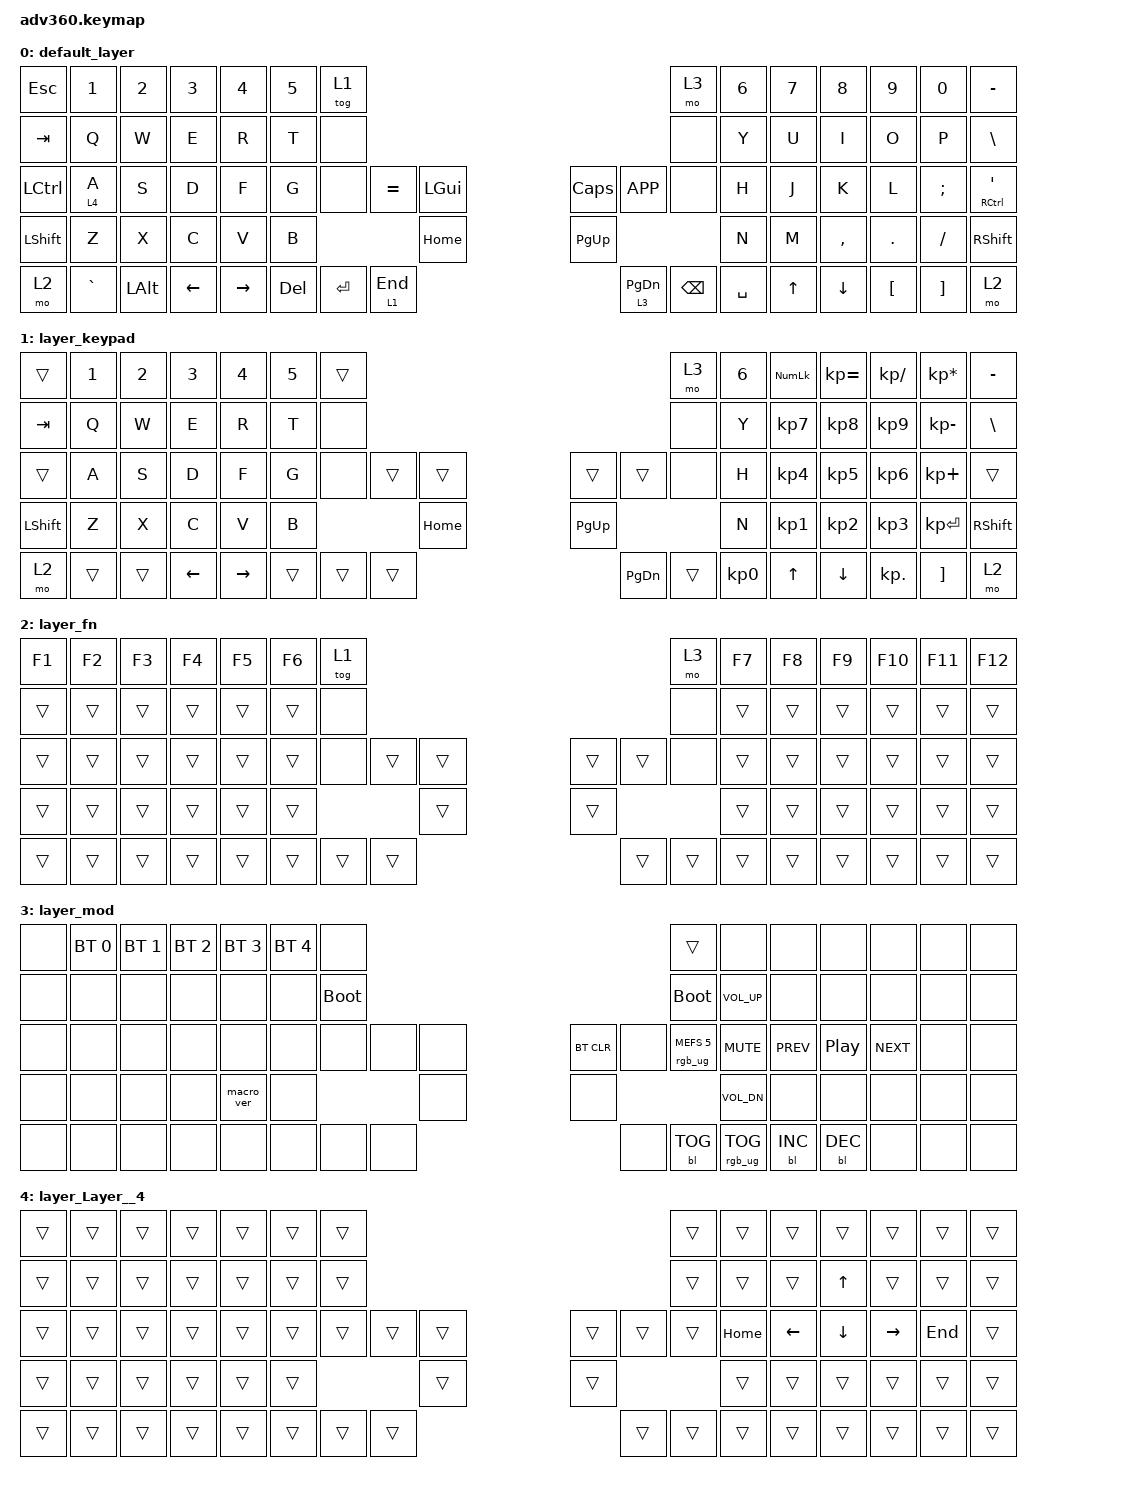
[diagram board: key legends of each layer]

/*
 * Copyright (c) 2020 The ZMK Contributors
 *
 * SPDX-License-Identifier: MIT
 */


/* THIS FILE WAS GENERATED!
 *
 * This file was generated automatically. You may or may not want to
 * edit it directly.
 */

#include <behaviors.dtsi>
#include <dt-bindings/zmk/keys.h>
#include <dt-bindings/zmk/bt.h>
#include <dt-bindings/zmk/rgb.h>
#include <dt-bindings/zmk/backlight.h>

/ {
  behaviors {
    #include "macros.dtsi"
    #include "version.dtsi"

    hm: homerow_mods {
        compatible = "zmk,behavior-hold-tap";
        label = "HOMEROW_MODS";
        #binding-cells = <2>;
        tapping-term-ms = <200>;
        quick_tap_ms = <175>;
        flavor = "tap-preferred";
        bindings = <&kp>, <&kp>;
    };
  };

    keymap {
        compatible = "zmk,keymap";


        default_layer {
            bindings = <
          &kp ESC     &kp N1    &kp N2    &kp N3     &kp N4  &kp N5                &tog 1                                                                        &mo 3  &kp N6  &kp N7     &kp N8    &kp N9    &kp N0       &kp MINUS
          &kp TAB      &kp Q     &kp W     &kp E      &kp R   &kp T                 &none                                                                        &none   &kp Y   &kp U      &kp I     &kp O     &kp P        &kp BSLH
 &kp LEFT_CONTROL    &lt 4 A     &kp S     &kp D      &kp F   &kp G                 &none  &kp EQUAL   &kp LGUI                     &kp CAPS      &kp K_APP      &none   &kp H   &kp J      &kp K     &kp L  &kp SEMI  &mt RCTRL APOS
       &kp LSHIFT      &kp Z     &kp X     &kp C      &kp V   &kp B                                    &kp HOME                    &kp PG_UP                             &kp N   &kp M  &kp COMMA   &kp DOT  &kp FSLH       &kp RSHFT
            &mo 2  &kp GRAVE  &kp LALT  &kp LEFT  &kp RIGHT                    &kp DELETE  &kp ENTER  &lt 1 END                  &lt 3 PG_DN  &kp BACKSPACE  &kp SPACE          &kp UP   &kp DOWN  &kp LBKT  &kp RBKT           &mo 2
            >;
        };

        layer_keypad {
            bindings = <
    &trans  &kp N1  &kp N2    &kp N3     &kp N4  &kp N5            &trans                                                           &mo 3  &kp N6  &kp KP_NUM  &kp KP_EQUAL  &kp KP_DIVIDE  &kp KP_MULTIPLY  &kp MINUS
   &kp TAB   &kp Q   &kp W     &kp E      &kp R   &kp T             &none                                                           &none   &kp Y   &kp KP_N7     &kp KP_N8      &kp KP_N9     &kp KP_MINUS   &kp BSLH
    &trans   &kp A   &kp S     &kp D      &kp F   &kp G             &none  &trans    &trans                     &trans  &trans      &none   &kp H   &kp KP_N4     &kp KP_N5      &kp KP_N6      &kp KP_PLUS     &trans
 &kp LSHFT   &kp Z   &kp X     &kp C      &kp V   &kp B                            &kp HOME                  &kp PG_UP                      &kp N   &kp KP_N1     &kp KP_N2      &kp KP_N3     &kp KP_ENTER  &kp RSHFT
     &mo 2  &trans  &trans  &kp LEFT  &kp RIGHT                    &trans  &trans    &trans                  &kp PG_DN  &trans  &kp KP_N0              &kp UP      &kp DOWN     &kp KP_DOT         &kp RBKT      &mo 2
            >;
        };

        layer_fn {
            bindings = <
 &kp F1  &kp F2  &kp F3  &kp F4  &kp F5  &kp F6            &tog 1                                                   &mo 3  &kp F7  &kp F8  &kp F9  &kp F10  &kp F11  &kp F12
 &trans  &trans  &trans  &trans  &trans  &trans             &none                                                   &none  &trans  &trans  &trans   &trans   &trans   &trans
 &trans  &trans  &trans  &trans  &trans  &trans             &none  &trans  &trans                  &trans  &trans   &none  &trans  &trans  &trans   &trans   &trans   &trans
 &trans  &trans  &trans  &trans  &trans  &trans                            &trans                  &trans                  &trans  &trans  &trans   &trans   &trans   &trans
 &trans  &trans  &trans  &trans  &trans                    &trans  &trans  &trans                  &trans  &trans  &trans          &trans  &trans   &trans   &trans   &trans
            >;
        };

        layer_mod {
            bindings = <
  &none  &bt BT_SEL 0  &bt BT_SEL 1  &bt BT_SEL 2  &bt BT_SEL 3  &bt BT_SEL 4                  &none                                                                          &trans         &none       &none             &none       &none   &none   &none
  &none         &none         &none         &none         &none         &none            &bootloader                                                                     &bootloader  &kp C_VOL_UP       &none             &none       &none   &none   &none
  &none         &none         &none         &none         &none         &none                  &none   &none   &none                  &bt BT_CLR       &none  &rgb_ug RGB_MEFS_CMD 5    &kp C_MUTE  &kp C_PREV  &kp C_PLAY_PAUSE  &kp C_NEXT   &none   &none
  &none         &none         &none         &none    &macro_ver         &none                                  &none                       &none                                      &kp C_VOL_DN       &none             &none       &none   &none   &none
  &none         &none         &none         &none         &none                                &none   &none   &none                       &none  &bl BL_TOG         &rgb_ug RGB_TOG                &bl BL_INC        &bl BL_DEC       &none   &none   &none
            >;
        };

        layer_Layer__4 {
            bindings = <
 &trans  &trans  &trans  &trans  &trans  &trans            &trans                                                  &trans    &trans          &trans          &trans           &trans   &trans  &trans
 &trans  &trans  &trans  &trans  &trans  &trans            &trans                                                  &trans    &trans          &trans    &kp UP_ARROW           &trans   &trans  &trans
 &trans  &trans  &trans  &trans  &trans  &trans            &trans  &trans  &trans                  &trans  &trans  &trans  &kp HOME  &kp LEFT_ARROW  &kp DOWN_ARROW  &kp RIGHT_ARROW  &kp END  &trans
 &trans  &trans  &trans  &trans  &trans  &trans                            &trans                  &trans                    &trans          &trans          &trans           &trans   &trans  &trans
 &trans  &trans  &trans  &trans  &trans                    &trans  &trans  &trans                  &trans  &trans  &trans                    &trans          &trans           &trans   &trans  &trans
            >;
        };

    };
};
